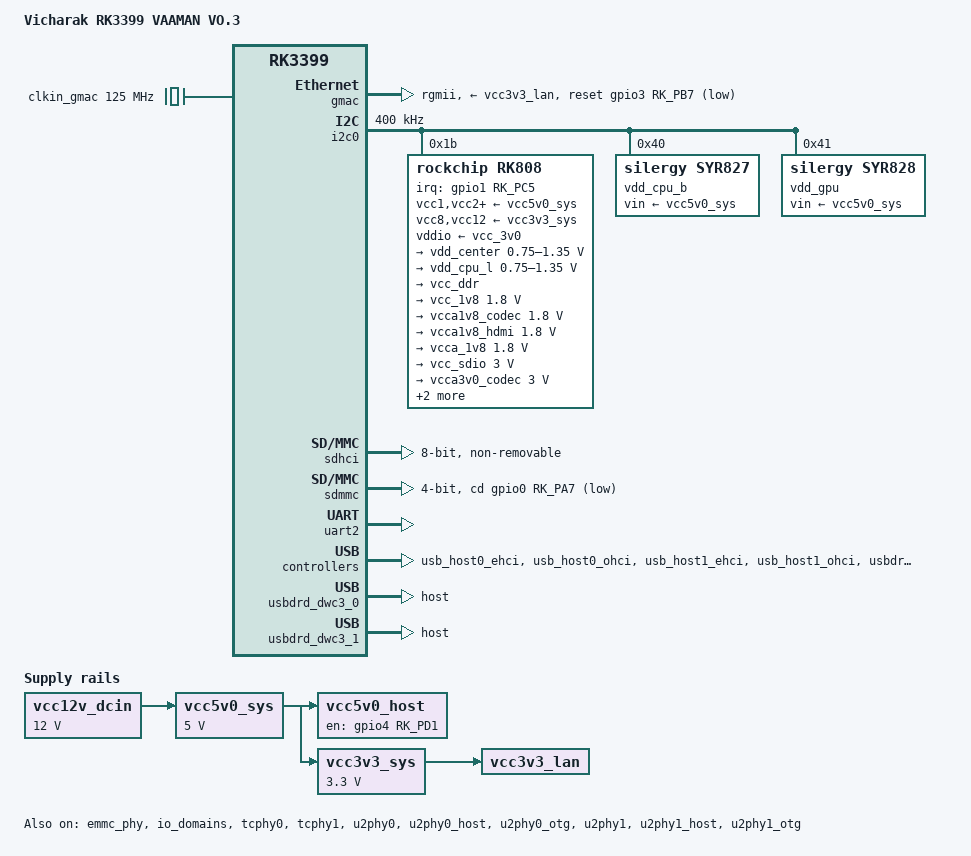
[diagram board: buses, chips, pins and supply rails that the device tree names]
// SPDX-License-Identifier: (GPL-2.0+ OR MIT)
/*
 * Copyright (C) 2023 Vicharak Computers LLP
 */

/dts-v1/;
#include "rk3399.dtsi"

/ {
	model = "Vicharak RK3399 VAAMAN VO.3";
	compatible = "vicharak,rk3399-vaaman", "rockchip,rk3399";

	aliases {
		mmc0 = &sdmmc;
		mmc1 = &sdhci;
	};

	chosen {
		stdout-path = "serial2:1500000n8";
	};

	clkin_gmac: external-gmac-clock {
		compatible = "fixed-clock";
		clock-frequency = <125000000>;
		clock-output-names = "clkin_gmac";
		#clock-cells = <0>;
	};

	vcc12v_dcin: vcc12v-dcin-regulator {
		compatible = "regulator-fixed";
		regulator-name = "vcc12v_dcin";
		regulator-always-on;
		regulator-boot-on;
		regulator-min-microvolt = <12000000>;
		regulator-max-microvolt = <12000000>;
	};

	vcc5v0_host: vcc5v0-host-regulator {
		compatible = "regulator-fixed";
		regulator-name = "vcc5v0_host";
		regulator-boot-on;
		regulator-always-on;
		enable-active-high;
		gpio = <&gpio4 RK_PD1 GPIO_ACTIVE_HIGH>;
		pinctrl-names = "default";
		pinctrl-0 = <&vcc5v0_host_en>;
		vin-supply = <&vcc5v0_sys>;
	};

	vcc5v0_sys: vcc5v0-sys-regulator {
		compatible = "regulator-fixed";
		regulator-name = "vcc5v0_sys";
		regulator-always-on;
		regulator-boot-on;
		regulator-min-microvolt = <5000000>;
		regulator-max-microvolt = <5000000>;
		vin-supply = <&vcc12v_dcin>;
	};

	vcc3v3_lan: vcc3v3-lan-regulator {
		compatible = "regulator-fixed";
		regulator-name = "vcc3v3_lan";
		regulator-always-on;
		regulator-boot-on;
		vin-supply = <&vcc3v3_sys>;
	};

	vcc3v3_sys: vcc3v3-sys-regulator {
		compatible = "regulator-fixed";
		regulator-name = "vcc3v3_sys";
		regulator-always-on;
		regulator-boot-on;
		regulator-min-microvolt = <3300000>;
		regulator-max-microvolt = <3300000>;
		vin-supply = <&vcc5v0_sys>;
	};
};

&cpu_l0 {
	cpu-supply = <&vdd_cpu_l>;
};

&cpu_l1 {
	cpu-supply = <&vdd_cpu_l>;
};

&cpu_l2 {
	cpu-supply = <&vdd_cpu_l>;
};

&cpu_l3 {
	cpu-supply = <&vdd_cpu_l>;
};

&cpu_b0 {
	cpu-supply = <&vdd_cpu_b>;
};

&cpu_b1 {
	cpu-supply = <&vdd_cpu_b>;
};

&emmc_phy {
	status = "okay";
};

&gmac {
	assigned-clocks = <&cru SCLK_RMII_SRC>;
	assigned-clock-parents = <&clkin_gmac>;
	clock_in_out = "input";
	phy-supply = <&vcc3v3_lan>;
	phy-mode = "rgmii";
	pinctrl-names = "default";
	pinctrl-0 = <&rgmii_pins>;
	snps,reset-gpio = <&gpio3 RK_PB7 GPIO_ACTIVE_LOW>;
	snps,reset-active-low;
	snps,reset-delays-us = <0 10000 50000>;
	tx_delay = <0x28>;
	rx_delay = <0x11>;
	status = "okay";
};

&i2c0 {
	clock-frequency = <400000>;
	i2c-scl-rising-time-ns = <168>;
	i2c-scl-falling-time-ns = <4>;
	status = "okay";

	rk808: pmic@1b {
		compatible = "rockchip,rk808";
		reg = <0x1b>;
		#clock-cells = <1>;
		clock-output-names = "xin32k", "rk808-clkout2";
		interrupt-parent = <&gpio1>;
		interrupts = <RK_PC5 IRQ_TYPE_LEVEL_LOW>;
		pinctrl-names = "default";
		pinctrl-0 = <&pmic_int_l>;
		rockchip,system-power-controller;
		wakeup-source;

		vcc1-supply = <&vcc5v0_sys>;
		vcc2-supply = <&vcc5v0_sys>;
		vcc3-supply = <&vcc5v0_sys>;
		vcc4-supply = <&vcc5v0_sys>;
		vcc6-supply = <&vcc5v0_sys>;
		vcc7-supply = <&vcc5v0_sys>;
		vcc8-supply = <&vcc3v3_sys>;
		vcc9-supply = <&vcc5v0_sys>;
		vcc10-supply = <&vcc5v0_sys>;
		vcc11-supply = <&vcc5v0_sys>;
		vcc12-supply = <&vcc3v3_sys>;
		vddio-supply = <&vcc_3v0>;

		regulators {
			vdd_center: DCDC_REG1 {
				regulator-name = "vdd_center";
				regulator-always-on;
				regulator-boot-on;
				regulator-min-microvolt = <750000>;
				regulator-max-microvolt = <1350000>;
				regulator-ramp-delay = <6001>;

				regulator-state-mem {
					regulator-off-in-suspend;
				};
			};

			vdd_cpu_l: DCDC_REG2 {
				regulator-name = "vdd_cpu_l";
				regulator-always-on;
				regulator-boot-on;
				regulator-min-microvolt = <750000>;
				regulator-max-microvolt = <1350000>;
				regulator-ramp-delay = <6001>;

				regulator-state-mem {
					regulator-off-in-suspend;
				};
			};

			vcc_ddr: DCDC_REG3 {
				regulator-name = "vcc_ddr";
				regulator-always-on;
				regulator-boot-on;

				regulator-state-mem {
					regulator-on-in-suspend;
				};
			};

			vcc_1v8: DCDC_REG4 {
				regulator-name = "vcc_1v8";
				regulator-always-on;
				regulator-boot-on;
				regulator-min-microvolt = <1800000>;
				regulator-max-microvolt = <1800000>;

				regulator-state-mem {
					regulator-on-in-suspend;
					regulator-suspend-microvolt = <1800000>;
				};
			};

			vcca1v8_codec: LDO_REG1 {
				regulator-name = "vcca1v8_codec";
				regulator-always-on;
				regulator-boot-on;
				regulator-min-microvolt = <1800000>;
				regulator-max-microvolt = <1800000>;

				regulator-state-mem {
					regulator-on-in-suspend;
					regulator-suspend-microvolt = <1800000>;
				};
			};

			vcca1v8_hdmi: LDO_REG2 {
				regulator-name = "vcca1v8_hdmi";
				regulator-always-on;
				regulator-boot-on;
				regulator-min-microvolt = <1800000>;
				regulator-max-microvolt = <1800000>;

				regulator-state-mem {
					regulator-on-in-suspend;
					regulator-suspend-microvolt = <1800000>;
				};
			};

			vcca_1v8: LDO_REG3 {
				regulator-name = "vcca_1v8";
				regulator-always-on;
				regulator-boot-on;
				regulator-min-microvolt = <1800000>;
				regulator-max-microvolt = <1800000>;

				regulator-state-mem {
					regulator-on-in-suspend;
					regulator-suspend-microvolt = <1800000>;
				};
			};

			vcc_sdio: LDO_REG4 {
				regulator-name = "vcc_sdio";
				regulator-always-on;
				regulator-boot-on;
				regulator-min-microvolt = <3000000>;
				regulator-max-microvolt = <3000000>;

				regulator-state-mem {
					regulator-on-in-suspend;
					regulator-suspend-microvolt = <3000000>;
				};
			};

			vcca3v0_codec: LDO_REG5 {
				regulator-name = "vcca3v0_codec";
				regulator-always-on;
				regulator-boot-on;
				regulator-min-microvolt = <3000000>;
				regulator-max-microvolt = <3000000>;

				regulator-state-mem {
					regulator-on-in-suspend;
					regulator-suspend-microvolt = <3000000>;
				};
			};

			vcc_1v5: LDO_REG6 {
				regulator-name = "vcc_1v5";
				regulator-always-on;
				regulator-boot-on;
				regulator-min-microvolt = <1500000>;
				regulator-max-microvolt = <1500000>;

				regulator-state-mem {
					regulator-on-in-suspend;
					regulator-suspend-microvolt = <1500000>;
				};
			};

			vcca0v9_hdmi: LDO_REG7 {
				regulator-name = "vcca0v9_hdmi";
				regulator-always-on;
				regulator-boot-on;
				regulator-min-microvolt = <900000>;
				regulator-max-microvolt = <900000>;

				regulator-state-mem {
					regulator-on-in-suspend;
					regulator-suspend-microvolt = <900000>;
				};
			};

			vcc_3v0: LDO_REG8 {
				regulator-name = "vcc_3v0";
				regulator-always-on;
				regulator-boot-on;
				regulator-min-microvolt = <3000000>;
				regulator-max-microvolt = <3000000>;

				regulator-state-mem {
					regulator-on-in-suspend;
					regulator-suspend-microvolt = <3000000>;
				};
			};

			vcc_cam: SWITCH_REG1 {
				regulator-name = "vcc_cam";
				regulator-always-on;
				regulator-boot-on;

				regulator-state-mem {
					regulator-on-in-suspend;
				};
			};

			vcc_mipi: SWITCH_REG2 {
				regulator-name = "vcc_mipi";
				regulator-always-on;
				regulator-boot-on;

				regulator-state-mem {
					regulator-on-in-suspend;
				};
			};
		};
	};

	vdd_cpu_b: regulator@40 {
		compatible = "silergy,syr827";
		reg = <0x40>;
		fcs,suspend-voltage-selector = <1>;
		pinctrl-names = "default";
		pinctrl-0 = <&vsel1_pin>;
		regulator-always-on;
		regulator-boot-on;
		regulator-max-microvolt = <1500000>;
		regulator-min-microvolt = <712500>;
		regulator-name = "vdd_cpu_b";
		regulator-ramp-delay = <1000>;
		vin-supply = <&vcc5v0_sys>;

		regulator-state-mem {
			regulator-off-in-suspend;
		};
	};

	vdd_gpu: regulator@41 {
		compatible = "silergy,syr828";
		reg = <0x41>;
		fcs,suspend-voltage-selector = <1>;
		pinctrl-names = "default";
		pinctrl-0 = <&vsel2_pin>;
		regulator-always-on;
		regulator-boot-on;
		regulator-max-microvolt = <1500000>;
		regulator-min-microvolt = <712500>;
		regulator-name = "vdd_gpu";
		regulator-ramp-delay = <1000>;
		vin-supply = <&vcc5v0_sys>;

		regulator-state-mem {
			regulator-off-in-suspend;
		};
	};
};

&io_domains {
	audio-supply = <&vcc_3v0>;
	bt656-supply = <&vcc_3v0>;
	gpio1830-supply = <&vcc_3v0>;
	sdmmc-supply = <&vcc_sdio>;
	status = "okay";
};

&pmu_io_domains {
	pmu1830-supply = <&vcc_3v0>;
	status = "okay";
};

&pinctrl {
	pmic {
		pmic_int_l: pmic-int-l {
			rockchip,pins =
				<1 RK_PC5 RK_FUNC_GPIO &pcfg_pull_up>;
		};

		vsel1_pin: vsel1-pin {
			rockchip,pins =
				<1 RK_PC1 RK_FUNC_GPIO &pcfg_pull_down>;
		};

		vsel2_pin: vsel2-pin {
			rockchip,pins =
				<1 RK_PB6 RK_FUNC_GPIO &pcfg_pull_down>;
		};
	};

	usb2 {
		vcc5v0_host_en: vcc5v0-host-en {
			rockchip,pins =
				<4 RK_PD1 RK_FUNC_GPIO &pcfg_pull_none>;
		};
	};
};

&sdhci {
	bus-width = <8>;
	keep-power-in-suspend;
	mmc-hs400-1_8v;
	mmc-hs400-enhanced-strobe;
	non-removable;
	status = "okay";
};

&sdmmc {
	bus-width = <4>;
	cap-mmc-highspeed;
	cap-sd-highspeed;
	cd-gpios = <&gpio0 RK_PA7 GPIO_ACTIVE_LOW>;
	disable-wp;
	max-frequency = <150000000>;
	pinctrl-names = "default";
	pinctrl-0 = <&sdmmc_clk &sdmmc_cd &sdmmc_cmd &sdmmc_bus4>;
	status = "okay";
};

&tcphy0 {
	status = "okay";
};

&tcphy1 {
	status = "okay";
};

&u2phy0 {
	status = "okay";
};

&u2phy0_host {
	phy-supply = <&vcc5v0_host>;
	status = "okay";
};

&u2phy0_otg {
	status = "okay";
};

&u2phy1 {
	status = "okay";
};

&u2phy1_host {
	phy-supply = <&vcc5v0_host>;
	status = "okay";
};

&u2phy1_otg {
	status = "okay";
};

&uart2 {
	status = "okay";
};

&usb_host0_ehci {
	status = "okay";
};

&usb_host0_ohci {
	status = "okay";
};

&usb_host1_ehci {
	status = "okay";
};

&usb_host1_ohci {
	status = "okay";
};

&usbdrd3_0 {
	status = "okay";
};

&usbdrd3_1 {
	status = "okay";
};

&usbdrd_dwc3_0 {
	status = "okay";
	dr_mode = "host";
};

&usbdrd_dwc3_1 {
	status = "okay";
	dr_mode = "host";
};
